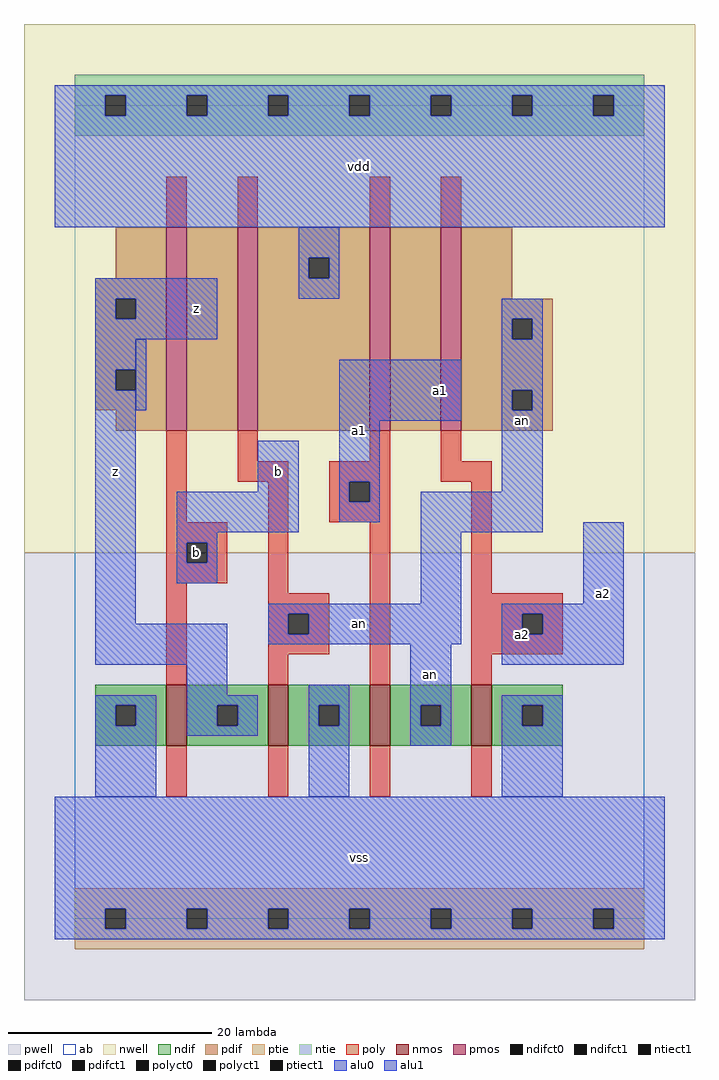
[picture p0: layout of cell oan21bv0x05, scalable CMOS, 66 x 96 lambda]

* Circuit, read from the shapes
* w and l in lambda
.subckt oan21bv0x05 a1 a2 an b vdd vss z
M1 z b vss vss nfet w=6 l=2
M2 vss an z vss nfet w=6 l=2
M3 an a1 vss vss nfet w=6 l=2
M4 vss a2 an vss nfet w=6 l=2
M5 n1 b z vdd pfet w=20 l=2
M6 vdd an n1 vdd pfet w=20 l=2
M7 n2 a1 vdd vdd pfet w=20 l=2
M8 an a2 n2 vdd pfet w=20 l=2
.ends

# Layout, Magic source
magic
tech scmos
<< ab >>
rect 0 0 56 80
<< nwell >>
rect -5 36 61 88
<< pwell >>
rect -5 -8 61 36
<< poly >>
rect 9 68 11 73
rect 16 68 18 73
rect 29 68 31 73
rect 36 68 38 73
rect 9 39 11 48
rect 16 45 18 48
rect 29 45 31 48
rect 16 43 21 45
rect 9 37 15 39
rect 9 35 11 37
rect 13 35 15 37
rect 9 33 15 35
rect 9 23 11 33
rect 19 32 21 43
rect 25 43 31 45
rect 36 45 38 48
rect 36 43 41 45
rect 25 41 27 43
rect 29 41 31 43
rect 25 39 31 41
rect 19 30 25 32
rect 19 28 21 30
rect 23 28 25 30
rect 19 26 25 28
rect 19 23 21 26
rect 29 23 31 39
rect 39 32 41 43
rect 39 30 48 32
rect 39 28 44 30
rect 46 28 48 30
rect 39 26 48 28
rect 39 23 41 26
rect 9 12 11 17
rect 19 12 21 17
rect 29 12 31 17
rect 39 12 41 17
<< ndif >>
rect 2 21 9 23
rect 2 19 4 21
rect 6 19 9 21
rect 2 17 9 19
rect 11 21 19 23
rect 11 19 14 21
rect 16 19 19 21
rect 11 17 19 19
rect 21 21 29 23
rect 21 19 24 21
rect 26 19 29 21
rect 21 17 29 19
rect 31 21 39 23
rect 31 19 34 21
rect 36 19 39 21
rect 31 17 39 19
rect 41 21 48 23
rect 41 19 44 21
rect 46 19 48 21
rect 41 17 48 19
<< pdif >>
rect 4 63 9 68
rect 2 61 9 63
rect 2 59 4 61
rect 6 59 9 61
rect 2 54 9 59
rect 2 52 4 54
rect 6 52 9 54
rect 2 50 9 52
rect 4 48 9 50
rect 11 48 16 68
rect 18 65 29 68
rect 18 63 23 65
rect 25 63 29 65
rect 18 48 29 63
rect 31 48 36 68
rect 38 61 43 68
rect 38 59 47 61
rect 38 57 43 59
rect 45 57 47 59
rect 38 52 47 57
rect 38 50 43 52
rect 45 50 47 52
rect 38 48 47 50
<< alu1 >>
rect -2 81 58 82
rect -2 79 3 81
rect 5 79 11 81
rect 13 79 19 81
rect 21 79 27 81
rect 29 79 35 81
rect 37 79 43 81
rect 45 79 51 81
rect 53 79 58 81
rect -2 68 58 79
rect 2 61 14 63
rect 2 59 4 61
rect 6 59 14 61
rect 2 57 14 59
rect 2 54 6 57
rect 2 52 4 54
rect 2 29 6 52
rect 26 49 38 55
rect 18 42 22 47
rect 10 38 22 42
rect 26 43 30 49
rect 26 41 27 43
rect 29 41 30 43
rect 26 39 30 41
rect 10 37 14 38
rect 10 35 11 37
rect 13 35 14 37
rect 10 33 14 35
rect 50 31 54 39
rect 2 25 15 29
rect 42 30 54 31
rect 42 28 44 30
rect 46 28 54 30
rect 11 22 15 25
rect 11 21 18 22
rect 11 19 14 21
rect 16 19 18 21
rect 11 18 18 19
rect 42 25 54 28
rect -2 1 58 12
rect -2 -1 3 1
rect 5 -1 11 1
rect 13 -1 19 1
rect 21 -1 27 1
rect 29 -1 35 1
rect 37 -1 43 1
rect 45 -1 51 1
rect 53 -1 58 1
rect -2 -2 58 -1
<< ptie >>
rect 0 1 56 3
rect 0 -1 3 1
rect 5 -1 11 1
rect 13 -1 19 1
rect 21 -1 27 1
rect 29 -1 35 1
rect 37 -1 43 1
rect 45 -1 51 1
rect 53 -1 56 1
rect 0 -3 56 -1
<< ntie >>
rect 0 81 56 83
rect 0 79 3 81
rect 5 79 11 81
rect 13 79 19 81
rect 21 79 27 81
rect 29 79 35 81
rect 37 79 43 81
rect 45 79 51 81
rect 53 79 56 81
rect 0 77 56 79
<< nmos >>
rect 9 17 11 23
rect 19 17 21 23
rect 29 17 31 23
rect 39 17 41 23
<< pmos >>
rect 9 48 11 68
rect 16 48 18 68
rect 29 48 31 68
rect 36 48 38 68
<< polyct0 >>
rect 21 28 23 30
<< polyct1 >>
rect 11 35 13 37
rect 27 41 29 43
rect 44 28 46 30
<< ndifct0 >>
rect 4 19 6 21
rect 24 19 26 21
rect 34 19 36 21
rect 44 19 46 21
<< ndifct1 >>
rect 14 19 16 21
<< ntiect1 >>
rect 3 79 5 81
rect 11 79 13 81
rect 19 79 21 81
rect 27 79 29 81
rect 35 79 37 81
rect 43 79 45 81
rect 51 79 53 81
<< ptiect1 >>
rect 3 -1 5 1
rect 11 -1 13 1
rect 19 -1 21 1
rect 27 -1 29 1
rect 35 -1 37 1
rect 43 -1 45 1
rect 51 -1 53 1
<< pdifct0 >>
rect 23 63 25 65
rect 43 57 45 59
rect 43 50 45 52
<< pdifct1 >>
rect 4 59 6 61
rect 4 52 6 54
<< alu0 >>
rect 22 65 26 68
rect 22 63 23 65
rect 25 63 26 65
rect 22 61 26 63
rect 42 59 46 61
rect 42 57 43 59
rect 45 57 46 59
rect 6 50 7 57
rect 42 52 46 57
rect 42 50 43 52
rect 45 50 46 52
rect 42 42 46 50
rect 34 38 46 42
rect 34 31 38 38
rect 19 30 38 31
rect 19 28 21 30
rect 23 28 38 30
rect 19 27 38 28
rect 2 21 8 22
rect 2 19 4 21
rect 6 19 8 21
rect 2 12 8 19
rect 23 21 27 23
rect 23 19 24 21
rect 26 19 27 21
rect 23 12 27 19
rect 33 21 37 27
rect 33 19 34 21
rect 36 19 37 21
rect 33 17 37 19
rect 42 21 48 22
rect 42 19 44 21
rect 46 19 48 21
rect 42 12 48 19
<< labels >>
rlabel alu0 35 24 35 24 6 an
rlabel alu0 28 29 28 29 6 an
rlabel alu0 44 49 44 49 6 an
rlabel alu1 4 44 4 44 6 z
rlabel polyct1 12 36 12 36 6 b
rlabel alu1 20 44 20 44 6 b
rlabel alu1 12 60 12 60 6 z
rlabel alu1 28 6 28 6 6 vss
rlabel alu1 28 48 28 48 6 a1
rlabel alu1 36 52 36 52 6 a1
rlabel alu1 28 74 28 74 6 vdd
rlabel alu1 44 28 44 28 6 a2
rlabel alu1 52 32 52 32 6 a2
<< end >>
